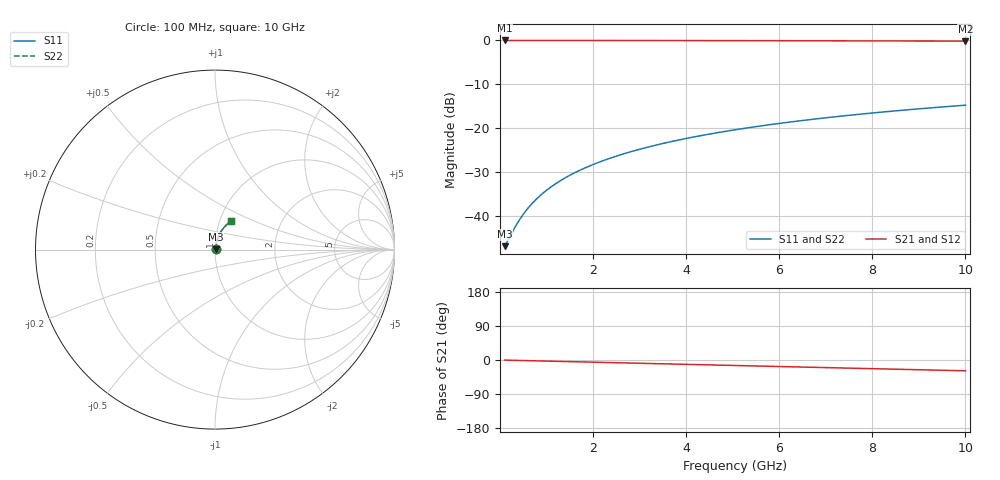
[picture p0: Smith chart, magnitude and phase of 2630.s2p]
# Hz S RI R 50.00
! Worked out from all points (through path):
!   100 points, 100 MHz to 10 GHz, reference 50 ohm
!   highest |S21| = -0.04 dB at 100 MHz (marker M1); lowest = -0.2 dB at 10 GHz (marker M2)
!   group delay of S21, straight-line fit = 7.93 ps
!   lowest |S11| = -46.8 dB at 100 MHz (marker M3), VSWR 1.01, Z = 50.4 + j0.192 ohm
!   |S11| at or under -10 dB: start of sweep to end of sweep
!   |S22| runs from -46.8 to -14.8 dB; largest |S21 - S12| = 0
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1e8  0.00415 0.00191  0.9958 -0.005  0.9958 -0.005  0.00415 0.00191
3e8  0.00427 0.00572  0.9957 -0.015  0.9957 -0.015  0.00427 0.00572
4e8  0.00436 0.00762  0.9956 -0.02  0.9956 -0.02  0.00436 0.00762
5e8  0.00445 0.00952  0.9954 -0.025  0.9954 -0.025  0.00445 0.00952
6e8  0.00457 0.0114  0.9952 -0.03  0.9952 -0.03  0.00457 0.0114
7e8  0.00471 0.0133  0.995 -0.035  0.995 -0.035  0.00471 0.0133
8e8  0.00486 0.0152  0.9948 -0.04  0.9948 -0.04  0.00486 0.0152
1e9  0.00522 0.019  0.9943 -0.05  0.9943 -0.05  0.00522 0.019
1.2e9  0.00565 0.0228  0.9936 -0.0599  0.9936 -0.0599  0.00565 0.0228
1.5e9  0.00645 0.0285  0.9924 -0.0749  0.9924 -0.0749  0.00645 0.0285
1.8e9  0.0074 0.0341  0.991 -0.0898  0.991 -0.0898  0.0074 0.0341
2.1e9  0.00853 0.0397  0.9893 -0.1047  0.9893 -0.1047  0.00853 0.0397
2.5e9  0.0103 0.0471  0.9866 -0.1244  0.9866 -0.1244  0.0103 0.0471
2.9e9  0.0123 0.0544  0.9835 -0.1441  0.9835 -0.1441  0.0123 0.0544
3.4e9  0.0153 0.0634  0.979 -0.1686  0.979 -0.1686  0.0153 0.0634
4.2e9  0.021 0.0775  0.9704 -0.2074  0.9704 -0.2074  0.021 0.0775
5.1e9  0.0287 0.0926  0.9586 -0.2504  0.9586 -0.2504  0.0287 0.0926
5.9e9  0.0366 0.1055  0.9464 -0.2879  0.9464 -0.2879  0.0366 0.1055
6.7e9  0.0455 0.1176  0.9325 -0.3247  0.9325 -0.3247  0.0455 0.1176
7.5e9  0.0554 0.1289  0.9172 -0.3607  0.9172 -0.3607  0.0554 0.1289
8.4e9  0.0674 0.1407  0.8981 -0.4001  0.8981 -0.4001  0.0674 0.1407
1e10  0.091 0.1587  0.8598 -0.4671  0.8598 -0.4671  0.091 0.1587
